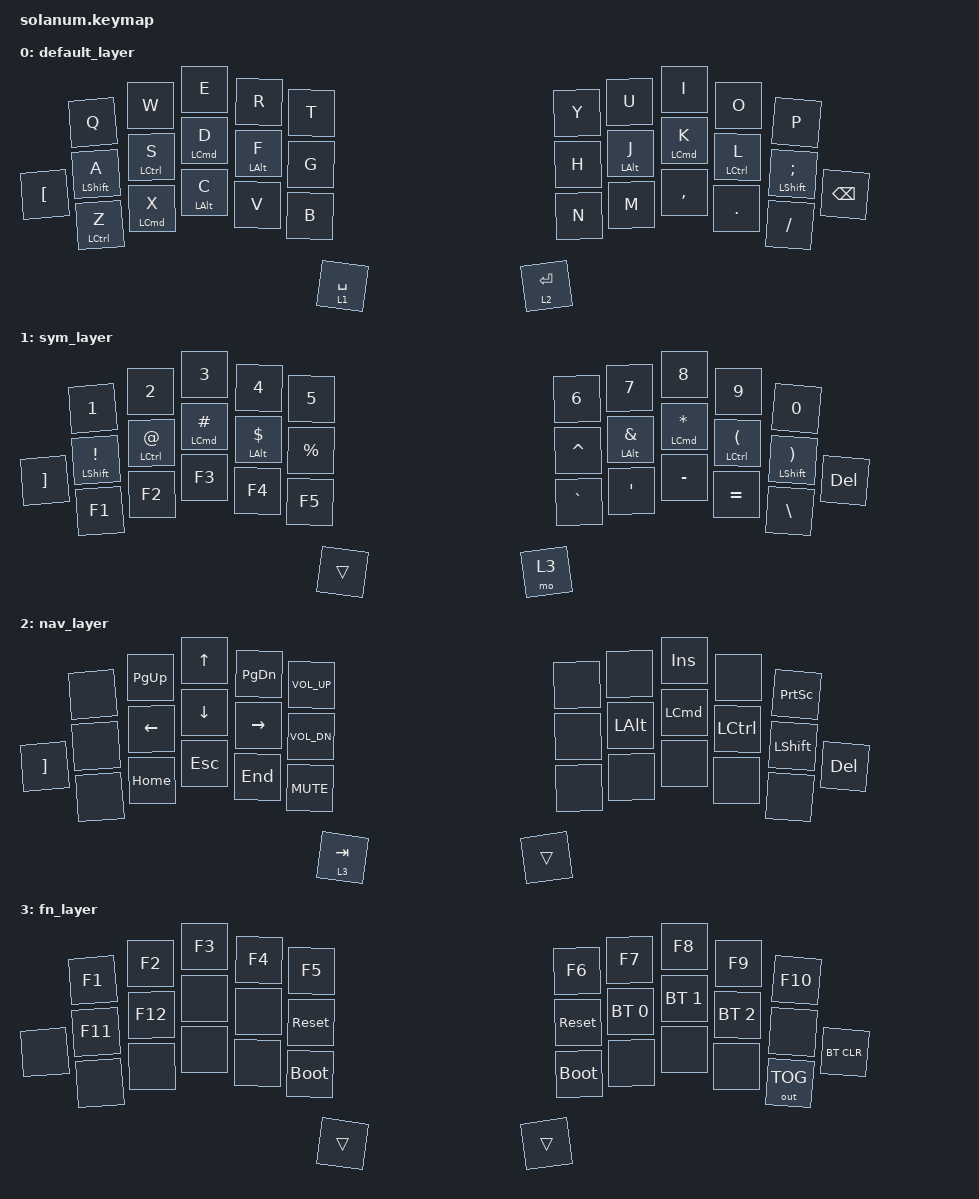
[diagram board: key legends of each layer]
/*
 * Copyright (c) 2024 Travis Mick
 *
 * SPDX-License-Identifier: MIT
 */

#include <behaviors.dtsi>
#include <dt-bindings/zmk/keys.h>
#include <dt-bindings/zmk/bt.h>
#include <dt-bindings/zmk/outputs.h>

&mt {
    flavor = "balanced";
    tapping-term-ms = <200>;
};

&lt {
    flavor = "balanced";
    tapping-term-ms = <200>;
};

/ {
    keymap {
        compatible = "zmk,keymap";

        default_layer {
            bindings = <
                      &kp Q          &kp W        &kp E         &kp R         &kp T                       &kp Y        &kp U         &kp I         &kp O          &kp P   
            &kp LBKT  &mt LSHFT A    &mt LCTRL S  &mt LCMD D    &mt LALT F    &kp G                       &kp H        &mt LALT J    &mt LCMD K    &mt LCTRL L    &mt LSHFT SEMI &kp BSPC
                      &mt LCTRL Z    &mt LCMD X   &mt LALT C    &kp V         &kp B                       &kp N        &kp M         &kp COMMA     &kp DOT        &kp FSLH
                                                                              &lt 1 SPACE                 &lt 2 ENTER
            >;
        };

        sym_layer {
            bindings = <
                      &kp N1         &kp N2       &kp N3        &kp N4        &kp N5                      &kp N6       &kp N7        &kp N8        &kp N9         &kp N0   
            &kp RBKT  &mt LSHFT EXCL &mt LCTRL AT &mt LCMD HASH &mt LALT DLLR &kp PRCNT                   &kp CARET    &mt LALT AMPS &mt LCMD STAR &mt LCTRL LPAR &mt LSHFT RPAR &kp DEL
                      &kp F1         &kp F2       &kp F3        &kp F4        &kp F5                      &kp GRAVE    &kp APOS      &kp MINUS     &kp EQUAL      &kp BSLH
                                                                              &trans                      &mo 3
            >;
        };

        nav_layer {
            bindings = <
                      &none          &kp PG_UP    &kp UP        &kp PG_DN     &kp C_VOL_UP                &none        &none         &kp INS       &none          &kp PSCRN
            &kp RBKT  &none          &kp LEFT     &kp DOWN      &kp RIGHT     &kp C_VOL_DN                &none        &kp LALT      &kp LCMD      &kp LCTRL      &kp LSHFT      &kp DEL
                      &none          &kp HOME     &kp ESC       &kp END       &kp C_MUTE                  &none        &none         &none         &none          &none
                                                                              &lt 3 TAB                   &trans
            >;
        };

        fn_layer {
            bindings = <
                      &kp F1         &kp F2       &kp F3        &kp F4        &kp F5                      &kp F6       &kp F7        &kp F8        &kp F9         &kp F10
            &none     &kp F11        &kp F12      &none         &none         &sys_reset                  &sys_reset   &bt BT_SEL 0  &bt BT_SEL 1  &bt BT_SEL 2   &none          &bt BT_CLR
                      &none          &none        &none         &none         &bootloader                 &bootloader  &none         &none         &none          &out OUT_TOG
                                                                              &trans                      &trans
            >;
        };

    };
};
